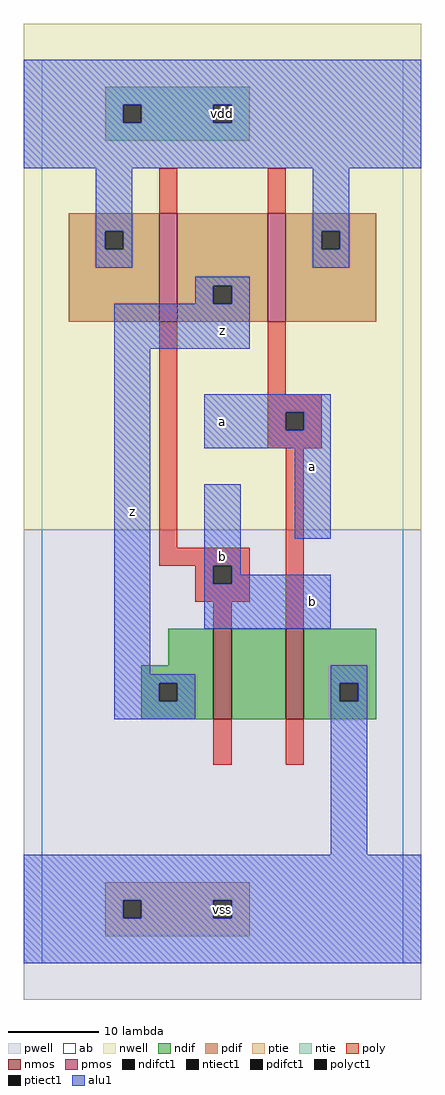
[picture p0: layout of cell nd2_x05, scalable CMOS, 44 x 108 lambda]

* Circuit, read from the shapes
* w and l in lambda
.subckt nd2_x05 a b vdd vss z
M1 n1 b z vss nfet w=10 l=2
M2 vss a n1 vss nfet w=10 l=2
M3 z b vdd vdd pfet w=12 l=2
M4 vdd a z vdd pfet w=12 l=2
.ends

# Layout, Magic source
magic
tech scmos
<< ab >>
rect 0 0 40 100
<< nwell >>
rect -2 48 42 104
<< pwell >>
rect -2 -4 42 48
<< poly >>
rect 13 83 15 88
rect 25 83 27 88
rect 13 46 15 71
rect 25 63 27 71
rect 25 61 31 63
rect 25 59 27 61
rect 29 59 31 61
rect 25 57 31 59
rect 13 44 23 46
rect 17 42 19 44
rect 21 42 23 44
rect 17 40 23 42
rect 19 37 21 40
rect 27 37 29 57
rect 19 22 21 27
rect 27 22 29 27
<< ndif >>
rect 14 33 19 37
rect 11 31 19 33
rect 11 29 13 31
rect 15 29 19 31
rect 11 27 19 29
rect 21 27 27 37
rect 29 31 37 37
rect 29 29 33 31
rect 35 29 37 31
rect 29 27 37 29
<< pdif >>
rect 3 81 13 83
rect 3 79 7 81
rect 9 79 13 81
rect 3 71 13 79
rect 15 75 25 83
rect 15 73 19 75
rect 21 73 25 75
rect 15 71 25 73
rect 27 81 37 83
rect 27 79 31 81
rect 33 79 37 81
rect 27 71 37 79
<< alu1 >>
rect -2 95 42 100
rect -2 93 9 95
rect 11 93 19 95
rect 21 93 42 95
rect -2 88 42 93
rect 6 81 10 88
rect 6 79 7 81
rect 9 79 10 81
rect 6 77 10 79
rect 30 81 34 88
rect 30 79 31 81
rect 33 79 34 81
rect 30 77 34 79
rect 17 75 23 76
rect 17 73 19 75
rect 21 73 23 75
rect 8 68 23 73
rect 8 32 12 68
rect 18 61 32 63
rect 18 59 27 61
rect 29 59 32 61
rect 18 57 32 59
rect 18 44 22 53
rect 28 47 32 57
rect 18 42 19 44
rect 21 43 22 44
rect 21 42 32 43
rect 18 37 32 42
rect 8 31 17 32
rect 8 29 13 31
rect 15 29 17 31
rect 8 27 17 29
rect 32 31 36 33
rect 32 29 33 31
rect 35 29 36 31
rect 32 12 36 29
rect -2 7 42 12
rect -2 5 9 7
rect 11 5 19 7
rect 21 5 42 7
rect -2 0 42 5
<< ptie >>
rect 7 7 23 9
rect 7 5 9 7
rect 11 5 19 7
rect 21 5 23 7
rect 7 3 23 5
<< ntie >>
rect 7 95 23 97
rect 7 93 9 95
rect 11 93 19 95
rect 21 93 23 95
rect 7 91 23 93
<< nmos >>
rect 19 27 21 37
rect 27 27 29 37
<< pmos >>
rect 13 71 15 83
rect 25 71 27 83
<< polyct1 >>
rect 27 59 29 61
rect 19 42 21 44
<< ndifct1 >>
rect 13 29 15 31
rect 33 29 35 31
<< ntiect1 >>
rect 9 93 11 95
rect 19 93 21 95
<< ptiect1 >>
rect 9 5 11 7
rect 19 5 21 7
<< pdifct1 >>
rect 7 79 9 81
rect 19 73 21 75
rect 31 79 33 81
<< labels >>
rlabel alu1 10 50 10 50 6 z
rlabel ptiect1 20 6 20 6 6 vss
rlabel alu1 20 45 20 45 6 b
rlabel alu1 20 60 20 60 6 a
rlabel alu1 20 70 20 70 6 z
rlabel ntiect1 20 94 20 94 6 vdd
rlabel alu1 30 40 30 40 6 b
rlabel alu1 30 55 30 55 6 a
<< end >>
